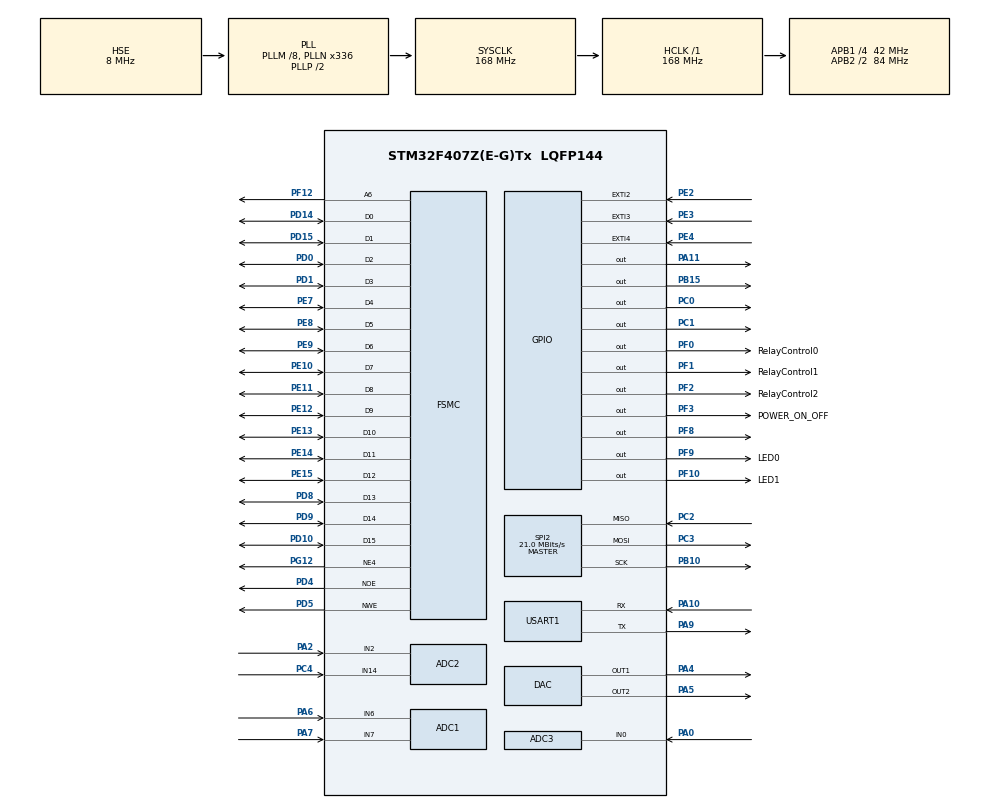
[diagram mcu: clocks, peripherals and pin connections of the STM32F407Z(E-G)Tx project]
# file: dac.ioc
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ADC1.Channel-0\#ChannelRegularConversion=ADC_CHANNEL_6
ADC1.Channel-1\#ChannelRegularConversion=ADC_CHANNEL_7
ADC1.ContinuousConvMode=ENABLE
ADC1.DMAContinuousRequests=ENABLE
ADC1.NbrOfConversion=2
ADC1.NbrOfConversionFlag=1
ADC1.Rank-0\#ChannelRegularConversion=1
ADC1.Rank-1\#ChannelRegularConversion=2
ADC1.SamplingTime-0\#ChannelRegularConversion=ADC_SAMPLETIME_3CYCLES
ADC1.SamplingTime-1\#ChannelRegularConversion=ADC_SAMPLETIME_3CYCLES
ADC1.ScanConvMode=ENABLE
ADC1.master=1
ADC2.Channel-0\#ChannelRegularConversion=ADC_CHANNEL_2
ADC2.Channel-1\#ChannelRegularConversion=ADC_CHANNEL_14
ADC2.ContinuousConvMode=ENABLE
ADC2.DMAContinuousRequests=ENABLE
ADC2.InjNumberOfConversion=0
ADC2.NbrOfConversion=2
ADC2.NbrOfConversionFlag=1
ADC2.Rank-0\#ChannelRegularConversion=1
ADC2.Rank-1\#ChannelRegularConversion=2
ADC2.SamplingTime-0\#ChannelRegularConversion=ADC_SAMPLETIME_3CYCLES
ADC2.SamplingTime-1\#ChannelRegularConversion=ADC_SAMPLETIME_3CYCLES
ADC2.ScanConvMode=ENABLE
ADC3.Channel-0\#ChannelRegularConversion=ADC_CHANNEL_0
ADC3.ContinuousConvMode=ENABLE
ADC3.DMAContinuousRequests=ENABLE
ADC3.NbrOfConversion=1
ADC3.NbrOfConversionFlag=1
ADC3.Rank-0\#ChannelRegularConversion=1
ADC3.SamplingTime-0\#ChannelRegularConversion=ADC_SAMPLETIME_3CYCLES
ADC3.ScanConvMode=ENABLE
Dma.ADC1.0.Direction=DMA_PERIPH_TO_MEMORY
Dma.ADC1.0.FIFOMode=DMA_FIFOMODE_DISABLE
Dma.ADC1.0.Instance=DMA2_Stream0
Dma.ADC1.0.MemDataAlignment=DMA_MDATAALIGN_HALFWORD
Dma.ADC1.0.MemInc=DMA_MINC_ENABLE
Dma.ADC1.0.Mode=DMA_CIRCULAR
Dma.ADC1.0.PeriphDataAlignment=DMA_PDATAALIGN_HALFWORD
Dma.ADC1.0.PeriphInc=DMA_PINC_DISABLE
Dma.ADC1.0.Priority=DMA_PRIORITY_VERY_HIGH
Dma.ADC2.4.Direction=DMA_PERIPH_TO_MEMORY
Dma.ADC2.4.FIFOMode=DMA_FIFOMODE_DISABLE
Dma.ADC2.4.Instance=DMA2_Stream3
Dma.ADC2.4.MemDataAlignment=DMA_MDATAALIGN_HALFWORD
Dma.ADC2.4.MemInc=DMA_MINC_ENABLE
Dma.ADC2.4.Mode=DMA_CIRCULAR
Dma.ADC2.4.PeriphDataAlignment=DMA_PDATAALIGN_HALFWORD
Dma.ADC2.4.PeriphInc=DMA_PINC_DISABLE
Dma.ADC2.4.Priority=DMA_PRIORITY_VERY_HIGH
Dma.ADC3.1.Direction=DMA_PERIPH_TO_MEMORY
Dma.ADC3.1.FIFOMode=DMA_FIFOMODE_DISABLE
Dma.ADC3.1.Instance=DMA2_Stream1
Dma.ADC3.1.MemDataAlignment=DMA_MDATAALIGN_HALFWORD
Dma.ADC3.1.MemInc=DMA_MINC_ENABLE
Dma.ADC3.1.Mode=DMA_CIRCULAR
Dma.ADC3.1.PeriphDataAlignment=DMA_PDATAALIGN_HALFWORD
Dma.ADC3.1.PeriphInc=DMA_PINC_DISABLE
Dma.ADC3.1.Priority=DMA_PRIORITY_VERY_HIGH
Dma.Request0=ADC1
Dma.Request1=ADC3
Dma.Request2=USART1_RX
Dma.Request3=USART1_TX
Dma.Request4=ADC2
Dma.USART1_RX.2.Direction=DMA_PERIPH_TO_MEMORY
Dma.USART1_RX.2.FIFOMode=DMA_FIFOMODE_DISABLE
Dma.USART1_RX.2.Instance=DMA2_Stream2
Dma.USART1_RX.2.MemDataAlignment=DMA_MDATAALIGN_BYTE
Dma.USART1_RX.2.MemInc=DMA_MINC_ENABLE
Dma.USART1_RX.2.Mode=DMA_CIRCULAR
Dma.USART1_RX.2.PeriphDataAlignment=DMA_PDATAALIGN_BYTE
Dma.USART1_RX.2.PeriphInc=DMA_PINC_DISABLE
Dma.USART1_RX.2.Priority=DMA_PRIORITY_HIGH
Dma.USART1_TX.3.Direction=DMA_MEMORY_TO_PERIPH
Dma.USART1_TX.3.FIFOMode=DMA_FIFOMODE_DISABLE
Dma.USART1_TX.3.Instance=DMA2_Stream7
Dma.USART1_TX.3.MemDataAlignment=DMA_MDATAALIGN_BYTE
Dma.USART1_TX.3.MemInc=DMA_MINC_ENABLE
Dma.USART1_TX.3.Mode=DMA_NORMAL
Dma.USART1_TX.3.PeriphDataAlignment=DMA_PDATAALIGN_BYTE
Dma.USART1_TX.3.PeriphInc=DMA_PINC_DISABLE
Dma.USART1_TX.3.Priority=DMA_PRIORITY_HIGH
FSMC.AddressSetupTime1=9
FSMC.DataSetupTime1=8
Mcu.Family=STM32F4
Mcu.Name=STM32F407Z(E-G)Tx
Mcu.Package=LQFP144
NVIC.ADC_IRQn=true\:7\:0\:true\:false\:true\:true\:true
NVIC.DMA2_Stream0_IRQn=true\:9\:0\:true\:false\:true\:false\:true
NVIC.DMA2_Stream1_IRQn=true\:8\:0\:true\:false\:true\:false\:true
NVIC.DMA2_Stream2_IRQn=true\:6\:0\:true\:false\:true\:false\:true
NVIC.DMA2_Stream3_IRQn=true\:3\:0\:true\:false\:true\:false\:true
NVIC.DMA2_Stream7_IRQn=true\:4\:0\:true\:false\:true\:false\:true
NVIC.EXTI2_IRQn=true\:6\:0\:true\:false\:true\:true\:true
NVIC.EXTI3_IRQn=true\:6\:0\:true\:false\:true\:true\:true
NVIC.EXTI4_IRQn=true\:12\:0\:true\:false\:true\:true\:true
NVIC.PriorityGroup=NVIC_PRIORITYGROUP_4
NVIC.TIM2_IRQn=true\:14\:0\:true\:false\:true\:true\:true
NVIC.TIM3_IRQn=true\:8\:0\:true\:false\:true\:true\:true
NVIC.USART1_IRQn=true\:5\:0\:true\:false\:true\:true\:true
PA0-WKUP.Signal=ADCx_IN0
PA10.Mode=Asynchronous
PA10.Signal=USART1_RX
PA11.GPIO_PuPd=GPIO_PULLUP
PA11.GPIO_Speed=GPIO_SPEED_FREQ_MEDIUM
PA11.Signal=GPIO_Output
PA13.Mode=Serial_Wire
PA13.Signal=SYS_JTMS-SWDIO
PA14.Mode=Serial_Wire
PA14.Signal=SYS_JTCK-SWCLK
PA2.Signal=ADCx_IN2
PA4.Signal=COMP_DAC1_group
PA5.Signal=COMP_DAC2_group
PA6.Signal=ADCx_IN6
PA7.Signal=ADCx_IN7
PA9.Mode=Asynchronous
PA9.Signal=USART1_TX
PB10.GPIO_PuPd=GPIO_NOPULL
PB10.Mode=Full_Duplex_Master
PB10.Signal=SPI2_SCK
PB15.GPIO_PuPd=GPIO_PULLUP
PB15.GPIO_Speed=GPIO_SPEED_FREQ_HIGH
PB15.Signal=GPIO_Output
PC0.GPIO_PuPd=GPIO_PULLUP
PC0.GPIO_Speed=GPIO_SPEED_FREQ_HIGH
PC0.PinState=GPIO_PIN_SET
PC0.Signal=GPIO_Output
PC1.GPIO_PuPd=GPIO_PULLUP
PC1.GPIO_Speed=GPIO_SPEED_FREQ_HIGH
PC1.PinState=GPIO_PIN_SET
PC1.Signal=GPIO_Output
PC14-OSC32_IN.Mode=LSE-External-Oscillator
PC14-OSC32_IN.Signal=RCC_OSC32_IN
PC15-OSC32_OUT.Mode=LSE-External-Oscillator
PC15-OSC32_OUT.Signal=RCC_OSC32_OUT
PC2.GPIO_PuPd=GPIO_PULLUP
PC2.Mode=Full_Duplex_Master
PC2.Signal=SPI2_MISO
PC3.GPIO_PuPd=GPIO_PULLUP
PC3.Mode=Full_Duplex_Master
PC3.Signal=SPI2_MOSI
PC4.Signal=ADCx_IN14
PD0.GPIO_PuPd=GPIO_PULLUP
PD0.Signal=FSMC_D2_DA2
PD1.GPIO_PuPd=GPIO_PULLUP
PD1.Signal=FSMC_D3_DA3
PD10.GPIO_PuPd=GPIO_PULLUP
PD10.Signal=FSMC_D15_DA15
PD14.GPIO_PuPd=GPIO_PULLUP
PD14.Signal=FSMC_D0_DA0
PD15.GPIO_PuPd=GPIO_PULLUP
PD15.Signal=FSMC_D1_DA1
PD4.GPIO_PuPd=GPIO_PULLUP
PD4.Signal=FSMC_NOE
PD5.GPIO_PuPd=GPIO_PULLUP
PD5.Signal=FSMC_NWE
PD8.GPIO_PuPd=GPIO_PULLUP
PD8.Signal=FSMC_D13_DA13
PD9.GPIO_PuPd=GPIO_PULLUP
PD9.Signal=FSMC_D14_DA14
PE10.GPIO_PuPd=GPIO_PULLUP
PE10.Signal=FSMC_D7_DA7
PE11.GPIO_PuPd=GPIO_PULLUP
PE11.Signal=FSMC_D8_DA8
PE12.GPIO_PuPd=GPIO_PULLUP
PE12.Signal=FSMC_D9_DA9
PE13.GPIO_PuPd=GPIO_PULLUP
PE13.Signal=FSMC_D10_DA10
PE14.GPIO_PuPd=GPIO_PULLUP
PE14.Signal=FSMC_D11_DA11
PE15.GPIO_PuPd=GPIO_PULLUP
PE15.Signal=FSMC_D12_DA12
PE2.GPIO_ModeDefaultEXTI=GPIO_MODE_IT_FALLING
PE2.GPIO_PuPd=GPIO_PULLUP
PE2.Signal=GPXTI2
PE3.GPIO_ModeDefaultEXTI=GPIO_MODE_IT_FALLING
PE3.GPIO_PuPd=GPIO_PULLUP
PE3.Signal=GPXTI3
PE4.GPIO_ModeDefaultEXTI=GPIO_MODE_IT_FALLING
PE4.GPIO_PuPd=GPIO_PULLUP
PE4.Signal=GPXTI4
PE7.GPIO_PuPd=GPIO_PULLUP
PE7.Signal=FSMC_D4_DA4
PE8.GPIO_PuPd=GPIO_PULLUP
PE8.Signal=FSMC_D5_DA5
PE9.GPIO_PuPd=GPIO_PULLUP
PE9.Signal=FSMC_D6_DA6
PF0.GPIO_Label=RelayControl0 
PF0.GPIO_PuPd=GPIO_PULLUP
PF0.GPIO_Speed=GPIO_SPEED_FREQ_HIGH
PF0.Signal=GPIO_Output
PF1.GPIO_Label=RelayControl1
PF1.GPIO_PuPd=GPIO_PULLUP
PF1.GPIO_Speed=GPIO_SPEED_FREQ_HIGH
PF1.Signal=GPIO_Output
PF10.GPIO_Label=LED1
PF10.GPIO_Speed=GPIO_SPEED_FREQ_LOW
PF10.PinState=GPIO_PIN_SET
PF10.Signal=GPIO_Output
PF12.GPIO_PuPd=GPIO_PULLUP
PF12.Signal=FSMC_A6
PF2.GPIO_Label=RelayControl2
PF2.GPIO_PuPd=GPIO_PULLUP
PF2.GPIO_Speed=GPIO_SPEED_FREQ_HIGH
PF2.Signal=GPIO_Output
PF3.GPIO_Label=POWER_ON_OFF
PF3.GPIO_PuPd=GPIO_PULLUP
PF3.GPIO_Speed=GPIO_SPEED_FREQ_HIGH
PF3.PinState=GPIO_PIN_RESET
PF3.Signal=GPIO_Output
PF8.GPIO_ModeDefaultOutputPP=GPIO_MODE_OUTPUT_PP
PF8.GPIO_PuPd=GPIO_PULLUP
PF8.GPIO_Speed=GPIO_SPEED_FREQ_HIGH
PF8.PinState=GPIO_PIN_RESET
PF8.Signal=GPIO_Output
PF9.GPIO_Label=LED0
PF9.GPIO_ModeDefaultOutputPP=GPIO_MODE_OUTPUT_PP
PF9.GPIO_PuPd=GPIO_PULLUP
PF9.GPIO_Speed=GPIO_SPEED_FREQ_HIGH
PF9.PinState=GPIO_PIN_SET
PF9.Signal=GPIO_Output
PG12.GPIO_PuPd=GPIO_PULLUP
PG12.Mode=NorPsramChipSelect4_1
PG12.Signal=FSMC_NE4
PH0-OSC_IN.Mode=HSE-External-Oscillator
PH0-OSC_IN.Signal=RCC_OSC_IN
PH1-OSC_OUT.Mode=HSE-External-Oscillator
PH1-OSC_OUT.Signal=RCC_OSC_OUT
ProjectManager.HeapSize=0x200
ProjectManager.StackSize=0x400
ProjectManager.TargetToolchain=MDK-ARM V5
RCC.48MHZClocksFreq_Value=84000000
RCC.AHBFreq_Value=168000000
RCC.APB1CLKDivider=RCC_HCLK_DIV4
RCC.APB1Freq_Value=42000000
RCC.APB1TimFreq_Value=84000000
RCC.APB2CLKDivider=RCC_HCLK_DIV2
RCC.APB2Freq_Value=84000000
RCC.APB2TimFreq_Value=168000000
RCC.CortexFreq_Value=21000000
RCC.Cortex_Div=SYSTICK_CLKSOURCE_HCLK_DIV8
RCC.HCLKFreq_Value=168000000
RCC.HSE_VALUE=8000000
RCC.HSI_VALUE=16000000
RCC.PLLM=8
RCC.PLLN=336
RCC.PLLSourceVirtual=RCC_PLLSOURCE_HSE
RCC.SYSCLKFreq_VALUE=168000000
RCC.SYSCLKSource=RCC_SYSCLKSOURCE_PLLCLK
RCC.VCOOutputFreq_Value=336000000
SH.ADCx_IN0.0=ADC3_IN0,IN0
SH.ADCx_IN14.0=ADC2_IN14,IN14
SH.ADCx_IN2.0=ADC2_IN2,IN2
SH.ADCx_IN6.0=ADC1_IN6,IN6
SH.ADCx_IN7.0=ADC1_IN7,IN7
SH.COMP_DAC1_group.0=DAC_OUT1,DAC_OUT1
SH.COMP_DAC2_group.0=DAC_OUT2,DAC_OUT2
SH.FSMC_A6.0=FSMC_A6,A6_1
SH.FSMC_D0_DA0.0=FSMC_D0,16b-d1
SH.FSMC_D10_DA10.0=FSMC_D10,16b-d1
SH.FSMC_D11_DA11.0=FSMC_D11,16b-d1
SH.FSMC_D12_DA12.0=FSMC_D12,16b-d1
SH.FSMC_D13_DA13.0=FSMC_D13,16b-d1
SH.FSMC_D14_DA14.0=FSMC_D14,16b-d1
SH.FSMC_D15_DA15.0=FSMC_D15,16b-d1
SH.FSMC_D1_DA1.0=FSMC_D1,16b-d1
SH.FSMC_D2_DA2.0=FSMC_D2,16b-d1
SH.FSMC_D3_DA3.0=FSMC_D3,16b-d1
SH.FSMC_D4_DA4.0=FSMC_D4,16b-d1
SH.FSMC_D5_DA5.0=FSMC_D5,16b-d1
SH.FSMC_D6_DA6.0=FSMC_D6,16b-d1
SH.FSMC_D7_DA7.0=FSMC_D7,16b-d1
SH.FSMC_D8_DA8.0=FSMC_D8,16b-d1
SH.FSMC_D9_DA9.0=FSMC_D9,16b-d1
SH.FSMC_NOE.0=FSMC_NOE,Lcd1
SH.FSMC_NWE.0=FSMC_NWE,Lcd1
SPI2.BaudRatePrescaler=SPI_BAUDRATEPRESCALER_2
SPI2.CLKPolarity=SPI_POLARITY_LOW
SPI2.CalculateBaudRate=21.0 MBits/s
SPI2.Direction=SPI_DIRECTION_2LINES
SPI2.Mode=SPI_MODE_MASTER
SPI2.VirtualType=VM_MASTER
TIM2.AutoReloadPreload=TIM_AUTORELOAD_PRELOAD_ENABLE
TIM2.Period=49
TIM2.Prescaler=41999
TIM3.AutoReloadPreload=TIM_AUTORELOAD_PRELOAD_ENABLE
TIM3.Period=2
TIM3.Prescaler=41999
USART1.VirtualMode=VM_ASYNC
VP_TIM2_VS_ClockSourceINT.Mode=Internal
VP_TIM3_VS_ClockSourceINT.Mode=Internal
board=custom

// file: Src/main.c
/* USER CODE BEGIN Header */
/**
	******************************************************************************
	* @file           : main.c
	* @brief          : Main program body
	******************************************************************************
	* @attention
	*
	* <h2><center>&copy; Copyright (c) 2020 STMicroelectronics.
	* All rights reserved.</center></h2>
	*
	* This software component is licensed by ST under BSD 3-Clause license,
	* the "License"; You may not use this file except in compliance with the
	* License. You may obtain a copy of the License at:
	*                        opensource.org/licenses/BSD-3-Clause
	*
	******************************************************************************
	*/
/* USER CODE END Header */

#include "main.h"
#include "adc.h"
#include "dac.h"
#include "dma.h"
#include "spi.h"
#include "tim.h"
#include "usart.h"
#include "gpio.h"
#include "fsmc.h"

/* USER CODE BEGIN Includes */
#define CSB1_Pin GPIO_PIN_0
#define CSB1_GPIO_Port GPIOC
#define CSB2_Pin GPIO_PIN_1
#define CSB2_GPIO_Port GPIOC

#include <stdio.h>
#include "string.h"
#include "stdint.h"
#include "delay.h"
#include "lcd.h"
#include "ad.h"
#include "EXTI_Callback.h"
#include "Data_Processing.h"
#include "Relay_Control.h"
#include "Voltage_Calibration.h"
#include "display.h"
#include "UartData.h"
#include "Self_Inspection.h"
//#include "bmi08x_defs.h"
/* USER CODE END Includes */

void SystemClock_Config(void);

/* USER CODE BEGIN 0 */
int x;
//电相关变量
/*
创建ADC格式：
							__IO uint16_t uhADCxConvertedValue_ADCX[10] = {0};   //DMA buffer
							uint16_t out_ADCxConvertedValue_PXX_INX=0;           //数据处理结果存放buffer
							double advX_real=0;                                  //计算后的真实值
							static float prevDataX=0;                            //卡尔曼滤波buffer
*/
#define Cap_Hreshold_Voltage 10.5  //阈值电压
#define power_sys 2 //mcu和lcd屏等产生的功耗
#define bias_ADC 0 //ADC补偿值，ADC接地时输出不是0，要加偏置
#define Voltag_out 20  //默认输出电压
#define Voltag_out1_min 25
__IO uint16_t uhADCxConvertedValue_ADC1[10] = {0};//改成uint32_t，数据会溢出
__IO uint16_t uhADCxConvertedValue_PA6_IN6[10] = {0};//改成uint32_t，数据会溢出-----超级电容电压
__IO uint16_t uhADCxConvertedValue_PA7_IN7[10] = {0};//改成uint32_t，数据会溢出-----超级电容电流
__IO uint16_t uhADCxConvertedValue_ADC2[10] = {0};//adc通道2的数据
__IO uint16_t uhADCxConvertedValue_PC4_IN14[10] = {0};//输入电压
__IO uint16_t uhADCxConvertedValue_PA2_IN2[10] = {0};//输出电压
__IO uint16_t uhADCxConvertedValue_PA0[10] = {0};//输入电流
uint16_t out_ADCxConvertedValue_PA6=0;
uint16_t out_ADCxConvertedValue_PA6_IN6=0;//数据处理结果存放
uint16_t out_ADCxConvertedValue_PA7_IN7=0;//数据处理结果存放
uint16_t out_ADCxConvertedValue_PC4_IN14=0;//数据处理结果存放
uint16_t out_ADCxConvertedValue_PA2_IN2=0;//数据处理结果存放
uint16_t out_ADCxConvertedValue_PA0=0;//数据处理结果存放
uint16_t DMA_CNT=0;//DMA计数
double adv1_real=0;
double adv1_IN6_real=0;//超级电容电压，按照比例放大之后的值
double adv1_IN7_real=0;//超级电容电流，按照比例放大之后的值
double adv2_IN2_real=0;//输出电压
double adv2_IN14_real=0;//输入电压，按照比例放大之后的值
double adv3_real=0;//输入电流，按照比例放大之后的值
uint32_t DAC_Value=4095;//920;超级电容充电，初始输出0V----------------------------------------------------------------------------------------------------
double power_input=0;//输入功率
double power_cap=0;//超级电容充电功率
double power_output=0;//输出功率
uint16_t power_set=60;

//输出标记
int flage=0;//功率超过额定功率（flage=1）功率没有超过额定功率（flage=0）
int Self_Inspecton_flage = 0;//0为没有通过自检，1为通过自检

//屏幕显示相关变量
uint16_t flage_display=2;//0为清空屏幕，1为显示数据，3为暂停
uint16_t Waveform_Date1[400]={0};//波形缓存buff
uint16_t Waveform_Date2[400]={0};//波形缓存buff
//继电器相关变量
u8 RelayContro_flag=0;//继电器是否工作，工作为1，不工作为0
u8 RelayContro_delay_flag=0;//当继电器工作时开始计时，计时100ms，再检测输出电压情况，1为延时完成，0为没有完成

//串口相关变量
uint8_t aTxBuffer[] = "*********SENDING DATA USING USART1 with DMA***********\r\n";
volatile uint8_t rx_len=0;                     //接收数据长度
volatile uint8_t recv_end_flag=0;              //接收完成标记位
uint8_t aRxBuffer1[100];      //接收缓存
uint8_t aTxBuffer1[10];			//发送data缓存
uint8_t aTxBuffer2[5];			//发送字头缓存
char  BUFFER_SIZE=100;      //不定长数据的最大长度，设置为100
uint8_t usart_flage=0;      //是否向上位机传输数据
frames Frames;//数据帧

//卡尔曼滤波buffer
static float prevData1=0;
static float prevData2=0;
static float prevData3=0;
static float prevData4=0;
static float prevData5=0;
static float prevData6=0;

//PID相关
volatile PID pid;//恒流
volatile PID pid_power_cap;//恒功率
volatile PID pid_power_out;//恒功率
float V=0;//中断控制电压，调试时用，一般情况没有用
u8 Cap_Hreshold_Voltage_mode=0;//1为超过电压阈值，进入恒压模式。

//pringf 重定向
int fputc(int c, FILE *stream)    //重写fputc函数
{ /*    huart1是工具生成代码定义的UART1结构体，    如果以后要使用其他串口打印，只需要把这个结构体改成其他UART结构体。*/
	HAL_UART_Transmit(&huart1, (unsigned char *)&c, 1, 1000);
	return 1;
}

/* USER CODE END 0 */

int main(void)
{
  /* USER CODE BEGIN 1 */
	//字符输出缓存数组
	u8 adc_vale1[12]={0}; //要设成数组，太小可能会溢出
	u8 adc_vale2[12]={0};
	u8 adc_vale3[12]={0};
	u8 BUFF[12]={0};
  /* USER CODE END 1 */

  /* MCU Configuration--------------------------------------------------------*/

  /* Reset of all peripherals, Initializes the Flash interface and the Systick. */
  HAL_Init();

  /* Configure the system clock */
  SystemClock_Config();

  /* Initialize all configured peripherals */
  MX_GPIO_Init();
  MX_DMA_Init();
  MX_FSMC_Init();
  MX_ADC1_Init();
  MX_DAC_Init();
  MX_ADC3_Init();
  MX_USART1_UART_Init();
  MX_SPI2_Init();
  MX_ADC2_Init();
  MX_TIM2_Init();
  MX_TIM3_Init();
  /* USER CODE BEGIN 2 */

	PID_int(&pid);//初始化恒流pid
	PID_power_cap_init(&pid_power_cap);//初始化电容充电恒功率pid
  PID_power_out_init(&pid_power_out);//初始化输出恒功率pid
	Frames_init(&Frames);//帧头初始化
	aTxBuffer2[0]=Frames.Frame_Header1;//帧头1
	aTxBuffer2[1]=Frames.Frame_Header2;//帧头2
	aTxBuffer2[3]=Frames.Frame_Verify;//校验位

	__HAL_UART_ENABLE_IT(&huart1, UART_IT_IDLE);//使能idle中断
	HAL_UART_Receive_DMA(&huart1,aRxBuffer1,BUFFER_SIZE);//打开DMA接收，数据存入aRxBuffer1数组中。
	HAL_UART_Transmit_DMA(&huart1,aTxBuffer,sizeof(aTxBuffer));// DMA发生数据
	delay_init(168);
	LCD_Init();

	LCD_ShowString(30,30,200,16,16, "-----------------");

	//BMI088--------------------------------------------------------------------------------------------------------------
	//屏幕显示
	//adc可用性检测
	HAL_ADC_Start_DMA(&hadc1, (uint32_t*)&uhADCxConvertedValue_ADC1,10);
	POINT_COLOR=BLUE ;
	HAL_ADC_Stop_DMA(&hadc1);
	LCD_ShowString(30,30,200,16,16, "uhADCxConvertedValu0");
	HAL_ADC_Start_DMA(&hadc2, (uint32_t*)&uhADCxConvertedValue_ADC2,10);
	POINT_COLOR=BLUE ;
	LCD_ShowString(30,30,200,16,16, "uhADCxConvertedValu01");
	HAL_ADC_Stop_DMA(&hadc2);
	HAL_ADC_Start_DMA(&hadc3, (uint32_t*)&uhADCxConvertedValue_PA0,10);
	POINT_COLOR=BLUE ;
	LCD_ShowString(30,30,200,16,16, "uhADCxConvertedValu012");
	HAL_ADC_Stop_DMA(&hadc3);
	//adc检测完毕
	//意思是开启dma传输,传送一个字的数据到uhADCxConvertedValue这个变量里面
	//保证继电器是关闭的
	HAL_GPIO_WritePin(RelayControl0_GPIO_Port, RelayControl0_Pin, GPIO_PIN_RESET);//f0
	HAL_GPIO_WritePin(RelayControl0_GPIO_Port, RelayControl1_Pin, GPIO_PIN_RESET);//f1
	HAL_GPIO_WritePin(RelayControl0_GPIO_Port, RelayControl2_Pin, GPIO_PIN_RESET);//f2
	//
	HAL_DAC_SetValue(&hdac, DAC_CHANNEL_1, DAC_ALIGN_12B_R, Uout_Convert(0));//PA4
	HAL_DAC_Start(&hdac, DAC_CHANNEL_1);
	delay_ms(1000);

	//24v接通，mos管打开
	HAL_GPIO_WritePin(GPIOF, GPIO_PIN_3, GPIO_PIN_SET);//24v接通
	//定时器要最后开，串口和主程序都在定时器里
	HAL_DAC_SetValue(&hdac, DAC_CHANNEL_1, DAC_ALIGN_12B_R, Uout_Convert(0));//超级电容输出电压
	HAL_DAC_Start(&hdac, DAC_CHANNEL_1);
	//最终输出电压
	HAL_DAC_SetValue(&hdac, DAC_CHANNEL_2, DAC_ALIGN_12B_R, Uout_Convert(0));//模块输出电压
	HAL_DAC_Start(&hdac, DAC_CHANNEL_2);
	//
	HAL_TIM_Base_Start_IT(&htim2);//开启定时器在屏幕初始化之后，不然可能出问题，具体原因不明，可能和延时有关
	HAL_TIM_Base_Start_IT(&htim3);//开启定时器在屏幕初始化之后，不然可能出问题，具体原因不明，可能和延时有关
	Self_Inspection();

  /* USER CODE END 2 */

  /* Infinite loop */
	while (1)
	{

    /* USER CODE BEGIN 3 */
	  if(Self_Inspecton_flage==0)//没有完成自检就不进行控制
	  {
		  break;
  	}
		display();
		//显示数据波形
		data_display_adc(uhADCxConvertedValue_PA6_IN6,10);

//		//运行状态灯关闭
////		HAL_GPIO_WritePin(GPIOF, GPIO_PIN_10, GPIO_PIN_RESET);//f10
////		HAL_GPIO_WritePin(GPIOF, GPIO_PIN_9, GPIO_PIN_RESET);//f9
//

//			//HAL_Delay(100);

	}
  /* USER CODE END 3 */
}

void SystemClock_Config(void)
{
  RCC_OscInitTypeDef RCC_OscInitStruct = {0};
  RCC_ClkInitTypeDef RCC_ClkInitStruct = {0};

  /** Configure the main internal regulator output voltage
  */
  __HAL_RCC_PWR_CLK_ENABLE();
  __HAL_PWR_VOLTAGESCALING_CONFIG(PWR_REGULATOR_VOLTAGE_SCALE1);
  /** Initializes the CPU, AHB and APB busses clocks
  */
  RCC_OscInitStruct.OscillatorType = RCC_OSCILLATORTYPE_HSE;
  RCC_OscInitStruct.HSEState = RCC_HSE_ON;
  RCC_OscInitStruct.PLL.PLLState = RCC_PLL_ON;
  RCC_OscInitStruct.PLL.PLLSource = RCC_PLLSOURCE_HSE;
  RCC_OscInitStruct.PLL.PLLM = 8;
  RCC_OscInitStruct.PLL.PLLN = 336;
  RCC_OscInitStruct.PLL.PLLP = RCC_PLLP_DIV2;
  RCC_OscInitStruct.PLL.PLLQ = 4;
  if (HAL_RCC_OscConfig(&RCC_OscInitStruct) != HAL_OK)
  {
    Error_Handler();
  }
  /** Initializes the CPU, AHB and APB busses clocks
  */
  RCC_ClkInitStruct.ClockType = RCC_CLOCKTYPE_HCLK|RCC_CLOCKTYPE_SYSCLK
                              |RCC_CLOCKTYPE_PCLK1|RCC_CLOCKTYPE_PCLK2;
  RCC_ClkInitStruct.SYSCLKSource = RCC_SYSCLKSOURCE_PLLCLK;
  RCC_ClkInitStruct.AHBCLKDivider = RCC_SYSCLK_DIV1;
  RCC_ClkInitStruct.APB1CLKDivider = RCC_HCLK_DIV4;
  RCC_ClkInitStruct.APB2CLKDivider = RCC_HCLK_DIV2;

  if (HAL_RCC_ClockConfig(&RCC_ClkInitStruct, FLASH_LATENCY_5) != HAL_OK)
  {
    Error_Handler();
  }
}

/* USER CODE BEGIN 4 */
//主程序，放在定时器里跑让执行周期确定。
void Control_Program()
{
//adc读取
	//ADC1，双通道
	for(int i=0;i<10;i=i+2)
	{
		HAL_ADC_Start_DMA(&hadc1, (uint32_t*)&uhADCxConvertedValue_ADC1,4);//意思是开启dma传输,传送一个字的数据到uhADCxConvertedValue这个变量里面
		delay_us(50);//不延时adc数据不会更新,延时对数据结果有影响太小数据就有便宜，接地时有1.0v拉高时偶2.v,推测和采样次数有关
		HAL_ADC_Stop_DMA(&hadc1);
		uhADCxConvertedValue_PA6_IN6[i]=uhADCxConvertedValue_ADC1[0];
		uhADCxConvertedValue_PA7_IN7[i]=uhADCxConvertedValue_ADC1[1];
		uhADCxConvertedValue_PA6_IN6[i+1]=uhADCxConvertedValue_ADC1[2];
		uhADCxConvertedValue_PA7_IN7[i+1]=uhADCxConvertedValue_ADC1[3];
	}
	//ADC2
	for(int i=0;i<10;i=i+2)
	{
		HAL_ADC_Start_DMA(&hadc2, (uint32_t*)&uhADCxConvertedValue_ADC2,4);//意思是开启dma传输,传送一个字的数据到uhADCxConvertedValue这个变量里面
		delay_us(50);//不延时adc数据不会更新,延时对数据结果有影响太小数据就有便宜，接地时有1.0v拉高时偶2.v,推测和采样次数有关
		HAL_ADC_Stop_DMA(&hadc1);
		uhADCxConvertedValue_PA2_IN2[i] =uhADCxConvertedValue_ADC2[0];
		uhADCxConvertedValue_PC4_IN14[i]=uhADCxConvertedValue_ADC2[1];
		uhADCxConvertedValue_PA2_IN2[i+1] =uhADCxConvertedValue_ADC2[2];
		uhADCxConvertedValue_PC4_IN14[i+1]=uhADCxConvertedValue_ADC2[3];
	}

	delay_us(50);//不延时adc数据不会更新,延时对数据结果有影响太小数据就有便宜，接地时有1.0v拉高时偶2.v,推测和采样次数有关
	HAL_ADC_Stop_DMA(&hadc2);
	//ADC3
	HAL_ADC_Start_DMA(&hadc3, (uint32_t*)&uhADCxConvertedValue_PA0,10);
	delay_us(50);//不延时adc数据不会更新,延时对数据结果有影响太小数据就有便宜，接地时有1.0v拉高时偶2.v,推测和采样次数有关
	HAL_ADC_Stop_DMA(&hadc3);
	//
	//数据处理(adc输出值取10次平均)
	//粗大误差剔除,
	out_ADCxConvertedValue_PA6_IN6=AGV_Remove_the_Ross_Error(uhADCxConvertedValue_PA6_IN6,10);//超级电容电压
	out_ADCxConvertedValue_PA7_IN7=AGV_Remove_the_Ross_Error(uhADCxConvertedValue_PA7_IN7,10);//超级电容电流
	out_ADCxConvertedValue_PA0=AGV_Remove_the_Ross_Error(uhADCxConvertedValue_PA0,10);//输入电流
	//out_ADCxConvertedValue_PA2=AGV_Remove_the_Ross_Error(uhADCxConvertedValue_PA2_IN2,10);//输出电压
	out_ADCxConvertedValue_PA2_IN2=AGV_Remove_the_Ross_Error(uhADCxConvertedValue_PA2_IN2,10);//输出电压
	out_ADCxConvertedValue_PC4_IN14=AGV_Remove_the_Ross_Error(uhADCxConvertedValue_PC4_IN14,10);//输出电压

	//卡尔曼滤波
	out_ADCxConvertedValue_PA6_IN6=kalmanFilter_A(out_ADCxConvertedValue_PA6_IN6,&prevData1);
	out_ADCxConvertedValue_PA7_IN7=kalmanFilter_A(out_ADCxConvertedValue_PA7_IN7,&prevData4);
	out_ADCxConvertedValue_PA0=kalmanFilter_A(out_ADCxConvertedValue_PA0,&prevData2);
	//out_ADCxConvertedValue_PA2=kalmanFilter_A(out_ADCxConvertedValue_PA2,&prevData3);
	out_ADCxConvertedValue_PA2_IN2=kalmanFilter_A(out_ADCxConvertedValue_PA2_IN2,&prevData3);
	out_ADCxConvertedValue_PC4_IN14=kalmanFilter_A(out_ADCxConvertedValue_PC4_IN14,&prevData6);

	//比例放大还原真实值
	adv1_IN6_real=out_ADCxConvertedValue_PA6_IN6*0.00080566*10.8;//0.00080566为分辨率，11为电阻分压后的放大倍数//超级电容电压
	adv1_IN7_real=(out_ADCxConvertedValue_PA7_IN7-bias_ADC)*0.00080566*7.094*1.27 ;//超级电容电流----0.00080566为分辨率，*1.066更加接近真实电流，但是为了防止电流过大，特意将放大倍数向上取整
	adv3_real=(out_ADCxConvertedValue_PA0-bias_ADC)*0.00080566*7.094*1.19;//*0.00080566*7.094/2;//输入电流
	adv3_real=kalmanFilter_A(adv3_real,&prevData5);//卡尔曼滤波,第一次滤波效果不是太好
	adv2_IN2_real=out_ADCxConvertedValue_PA2_IN2*0.00080566*10.8;//输出电压
	adv2_IN14_real=out_ADCxConvertedValue_PC4_IN14*0.00080566*10.8;//输入电压

	//!!!!!!!因为采样电阻等原因，电流只要在大于0.16时电流计返回的值才是准的，具体情况具体分析

	//功率计算
	power_input=adv2_IN14_real*adv3_real;//输入功率 电压*电流
	power_cap=adv1_IN6_real*adv1_IN7_real;//超级电容充电功率，电压*电流
	power_output=power_input-power_cap-power_sys;//输出功率

	//Automatic_Voltage_Acquisition();自动获取每个DAC输出时对应电压的值，一共可以跑4096次，用串口输出结果 ， 串口115200
  if(Self_Inspecton_flage==0)//没有完成自检就不进行控制
	{
		return ;
	}
	//PID控制
	//功率检测
	if(power_input>=power_set+2)
	{
		flage=1;
		HAL_DAC_SetValue(&hdac, DAC_CHANNEL_1, DAC_ALIGN_12B_R, Uout_Convert(0));//电容不冲电
		PID_power_cap_init(&pid_power_cap);//初始化恒功率pid <-不加这个初始化，pid_power_cap.result的值会一直保留，等下次超级电容要充电时应发超调
		pid_power_out.setpoint = power_set;

	}
	else if(power_input<power_set-5)
	{
		flage=0;
		PID_power_out_init(&pid_power_out);//初始化恒功率pid <-不加这个初始化，pid_power_cap.result的值会一直保留，等下次超级电容要充电时应发超调
		//还原最终输出电压
		HAL_DAC_SetValue(&hdac, DAC_CHANNEL_2, DAC_ALIGN_12B_R, Uout_Convert(Voltag_out));//PA5
		HAL_DAC_Start(&hdac, DAC_CHANNEL_2);
	}
	//功率超过额定功率（flage=1）
	if(flage==1)
	{
		if(pid_power_out.result>=0)
		{
			PIDRegulation(&pid_power_out, power_input);//pid 控制 计算 ，这里放的是你要维持的功率，可以用power_input/power_output
			HAL_DAC_SetValue(&hdac, DAC_CHANNEL_2, DAC_ALIGN_12B_R, Uout_Convert(pid_power_out.result));//PA5
		}
		else if(pid_power_out.result<0||pid_power_out.result>50)
		{
			HAL_DAC_SetValue(&hdac, DAC_CHANNEL_2, DAC_ALIGN_12B_R, Uout_Convert(0));//PA5
		}

		HAL_DAC_Start(&hdac, DAC_CHANNEL_2);
	}
	//功率小于等于额定功率（flage=0）
	if(flage==0&&RelayContro_flag==0)//在继电器不接通时
	{
		//HAL_DAC_SetValue(&hdac, DAC_CHANNEL_2, DAC_ALIGN_12B_R, 4095);//PA5

		if(adv1_IN7_real>=9.0)//电流大于9A，关闭pid
		{
			HAL_DAC_SetValue(&hdac, DAC_CHANNEL_1, DAC_ALIGN_12B_R, Uout_Convert(pid_power_cap.result-1));//PA4
			HAL_GPIO_WritePin(GPIOF, GPIO_PIN_10, GPIO_PIN_RESET);//f10
			PID_power_cap_init(&pid_power_cap);//初始化恒功率pid
		}
		else if((adv1_IN6_real>Cap_Hreshold_Voltage) && (Cap_Hreshold_Voltage_mode==0))//超级电容充电电压大于阈值电压，关闭pid
		{
			//HAL_DAC_SetValue(&hdac, DAC_CHANNEL_1, DAC_ALIGN_12B_R, Uout_Convert(Cap_Hreshold_Voltage+0.2));//PA4,加0.2是为了维持这个过电压的状态不跳变
			HAL_GPIO_WritePin(GPIOF, GPIO_PIN_9, GPIO_PIN_RESET);
			Cap_Hreshold_Voltage_mode=1;
			PID_power_cap_init(&pid_power_cap);//初始化恒功率pid <-不加这个初始化，pid_power_cap.result的值会一直保留，等下次超级电容要充电时应发超调
		}
		else if(pid_power_cap.result<0.0||pid_power_cap.result>100)//PID输出小于0
		{
			HAL_DAC_SetValue(&hdac, DAC_CHANNEL_1, DAC_ALIGN_12B_R, Uout_Convert(0));//PA4
			PID_power_cap_init(&pid_power_cap);//初始化恒功率pid
		}
		else  //正常充电
		{
			if(Cap_Hreshold_Voltage_mode==0)//恒功率模式
			{
				pid_power_cap.setpoint=(int16_t)(power_set-power_sys-power_output);
				if(pid_power_cap.setpoint<0)//防止阈值小于0；
				{
					pid_power_cap.setpoint=0;
				}
				PIDRegulation(&pid_power_cap, power_cap);//pid 控制 计算
				HAL_DAC_SetValue(&hdac, DAC_CHANNEL_1, DAC_ALIGN_12B_R, Uout_Convert(pid_power_cap.result));//PA4
				HAL_GPIO_WritePin(GPIOF, GPIO_PIN_10, GPIO_PIN_SET);//f10
				HAL_GPIO_WritePin(GPIOF, GPIO_PIN_9, GPIO_PIN_SET);//f9
			}
			else if(Cap_Hreshold_Voltage_mode==1)//恒压模式
			{
				HAL_DAC_SetValue(&hdac, DAC_CHANNEL_1, DAC_ALIGN_12B_R, Uout_Convert(Cap_Hreshold_Voltage));
			}

		}

		//HAL_DAC_Start(&hdac, DAC_CHANNEL_2);
		HAL_DAC_Start(&hdac, DAC_CHANNEL_1);
		flage=0;
	}
	else if(flage==0&&RelayContro_flag==1)//继电器导通，超级电容向外输电时，充电的dcdc不工作保持输出0V电压，以免继电器断开（下次充电）时发生未知问题
	{
		HAL_DAC_SetValue(&hdac, DAC_CHANNEL_1, DAC_ALIGN_12B_R, Uout_Convert(0));//PA4
		HAL_DAC_Start(&hdac, DAC_CHANNEL_1);
	}
//	HAL_DAC_SetValue(&hdac, DAC_CHANNEL_1, DAC_ALIGN_12B_R, Uout_Convert(13));//PA4
//	HAL_DAC_Start(&hdac, DAC_CHANNEL_1);
	//继电器控制
	if(RelayContro_delay_flag==1 && adv2_IN2_real<=Voltag_out1_min)//等待延时100ms后在做电压检测
	{
		Relay_Control(0);
	}
	//串口数据发送

	//运行状态灯关闭
//		HAL_GPIO_WritePin(GPIOF, GPIO_PIN_10, GPIO_PIN_RESET);//f10
//		HAL_GPIO_WritePin(GPIOF, GPIO_PIN_9, GPIO_PIN_RESET);//f9

		//HAL_Delay(100);
}
void HAL_ADC_ConvCpltCallback(ADC_HandleTypeDef* hadc)
{
	/* Turn LED1 on: Transfer process is correct */
 // BSP_LED_On(LED1);
	//HAL_GPIO_WritePin (GPIOF,GPIO_PIN_6,GPIO_PIN_SET );
	 /*if(hadc==(&hadc1))

	{

		DMA_CNT++;

	}  */
}
void data_display_adc(uint16_t* ADCxConvertedValue,int Length)//显示数据
{
	char adc_vale[50]={0};//可能会溢出
	uint16_t ADCxConvertedValue_copy[Length];
	uint16_t avg=0;

	double var=0;
	int difference_value=0;
	int i=0;

	if(flage_display==1)//显示数据细节
	{

		LCD_Draw_Output_waveform(400,400,30,70,BLUE,out_ADCxConvertedValue_PA0,Waveform_Date1);//370,760

	}
	else if(flage_display==0)//清空屏幕
	{
		LCD_Clear(WHITE);//按一下按键清一次，一直清刷新太慢
		flage_display=3;//防止不停的清空屏幕
	}
	else if(flage_display==2)//显示波形
	{
	//	LCD_Clear(WHITE);uint16_t
		LCD_Draw_Output_waveform(400,400,30,70,BLUE,(uint16_t)power_cap*40,Waveform_Date1);//电容输入功率
		LCD_Draw_Output_waveform(400,770,30,440,BLUE,out_ADCxConvertedValue_PA7_IN7,Waveform_Date2);//电容电流
	}
	else if(flage_display==3)//暂停
	{

	}
}
void HAL_GPIO_EXTI_Callback(uint16_t GPIO_Pin)
{
  /* NOTE: This function Should not be modified, when the callback is needed,
           the HAL_GPIO_EXTI_Callback could be implemented in the user file
   */
    switch(GPIO_Pin)
    {
        case GPIO_PIN_2:EXTI_CALLBACK_key1();break;
        case GPIO_PIN_3:EXTI_CALLBACK_key2();break;
        case GPIO_PIN_4:EXTI_CALLBACK_key3();break;
        case GPIO_PIN_15:EXTI_CALLBACK_key4();break;
        default:break;
    }
}
void usart_feedback()
{
	char str[4];
	//u16 num_temp=0;

//..................................................................
	if(recv_end_flag ==1)
	{
		//printf("rx_len=%d\r\n",rx_len);//打印接收长度
		HAL_UART_Transmit(&huart1,aRxBuffer1, rx_len,100);//接收数据打印出来
		HAL_UART_Transmit(&huart1,"\r\n", sizeof("\r\n"),100);//接收数据打印出来
//  		HAL_UART_Transmit_DMA(&huart1,aRxBuffer1, rx_len);//接收数据打印出来
//  		HAL_UART_Transmit_DMA(&huart1,"\r\n", sizeof("\r\n"));//接收数据打印出来
		if(memcmp(aRxBuffer1,"waveform",strlen("waveform"))==0)
		{
			flage_display=2;
			LCD_Clear(WHITE);
		}
		else if(memcmp(aRxBuffer1,"date",strlen("date"))==0)
		{
			flage_display=1;
			LCD_Clear(WHITE);
		}
		else if(memcmp(aRxBuffer1,"clear",strlen("clear"))==0)
		{
			flage_display=0;
		}
		else if(memcmp(aRxBuffer1,"power_set",strlen("power_set"))==0)//从上位机获取指令
		{
			x=strlen(aRxBuffer1)-strlen("power_set");
			for(int i=0;i<(strlen(aRxBuffer1)-strlen("power_set"));i++)
			{
				str[i]=aRxBuffer1[strlen("power_set")+i];
			}
			if(atoi(str) <= (power_set+30))//power_set的值不能变化太大，太大的话系统就会不稳定，所有两次差值控制在30
			{
				power_set = atoi(str);
			}
			else if(atoi(str) > (power_set+30))//两次差值超过30，新的值为power_set+30，并让上位机重新传数据，
			{
				power_set = power_set+30;
				aTxBuffer2[4]=Frames.power_input_set_error;//数据功能位，告诉上位机power_set的数据从新传一次
				sprintf(aTxBuffer1,"%.3lf\r\n",0);//\r\n
				aTxBuffer2[2]=(sizeof(aTxBuffer1));//数据长度位
				HAL_UART_Transmit(&huart1,aTxBuffer2, sizeof(aTxBuffer2),100);
				HAL_UART_Transmit(&huart1,aTxBuffer1, sizeof(aTxBuffer1),100);
			}

			for(int i=0;i<sizeof(str);i++)
			{
				str[i]=0;
			}

		}
		for(uint8_t i=0;i<rx_len;i++)
		{
			aRxBuffer1[i]=0;//清接收缓存
		}
		rx_len=0;//清除计数
		recv_end_flag=0;//清除接收结束标志位
	}
	HAL_UART_Receive_DMA(&huart1,aRxBuffer1,BUFFER_SIZE);// 启动DMA接收
	//..................................................................
}
//定时器中断
void HAL_TIM_PeriodElapsedCallback(TIM_HandleTypeDef *htim)
{
	static u8 flage_temp=0;
	static u8 flage_temp2=0;
	static u32 time=0;
	//定时器2
  if(htim==(&htim2))
  {
		//超级电容停止充电后，串入输出电源，
		if(RelayContro_flag==1)//继电器工作,开始计时
		{
			if(time >= 10)//完成计时
			{
				RelayContro_delay_flag=1;
				HAL_GPIO_WritePin(GPIOF, GPIO_PIN_10, GPIO_PIN_RESET);//状态灯亮
				time=0;
			}
			else if(time <10)//没有完成计时
			{
				time=time+1;
			}
		}
		else if(RelayContro_flag==0)//继电器没有工作
		{
			HAL_GPIO_WritePin(GPIOF, GPIO_PIN_10, GPIO_PIN_SET);//状态灯灭
		}
		if (usart_flage==1)
		{

			UartSend();

		}
		else if(usart_flage==0)
		{
		}
		usart_feedback();//串口接收后反馈信号的函数，可以控制显示内容，显示波形pc发送：waveform，显示数据pc发送：date，清空显示pc发送：clear

  }
	//定时器3，
	if(htim==(&htim3))
	{

		Control_Program();//主要控制函数

	}
}
void Frames_init(frames *vframes)
{
	vframes->Frame_Header1=0xAA ;
	vframes->Frame_Header2=0x0A ;
	vframes->Frame_Len =0;
	vframes->Frame_Verify =0x01;
	//功能位
	vframes->Voltage_Input = 0x11;//为了区别校验位所有从0x11开始
	vframes->Current_Input = 0x12;
	vframes->Voltage_Output = 0x13;
	vframes->Current_Output = 0x14;
	vframes->Voltage_Cap_Input = 0x15;
	vframes->Current_Cap_Input = 0x16;
	vframes->Voltage_Cap_Output = 0x17;
	vframes->power_input = 0x18;//输入功率
	vframes->power_cap = 0x19;//超级电容充电功率
	vframes->power_output = 0x1A;//输出功率
	vframes->power_input_set_error = 0xFF;//输出功率

}
/* USER CODE END 4 */

void Error_Handler(void)
{
}

/************************ (C) COPYRIGHT STMicroelectronics *****END OF FILE****/
